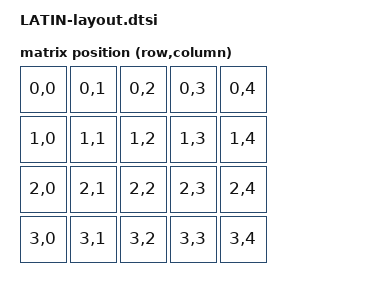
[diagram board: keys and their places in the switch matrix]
/*
 * Copyright (c) 2022 The ZMK Contributors
 *
 * SPDX-License-Identifier: MIT
 */

#include <dt-bindings/zmk/matrix_transform.h>
#include <physical_layouts.dtsi>

/ {
    default_transform: keymap_transform_0 {
        compatible = "zmk,matrix-transform";
        columns = <5>;
        rows = <4>;
//             | SW01  | SW02  | SW03  | SW04  | SW05  |
//             | SW06  | SW07  | SW08  | SW09  | SW10  |
//             | SW11  | SW12  | SW13  | SW14  | SW15  |
//             | SW16  | SW17  | SW18  | SW19  | SW20  |
        map = <
                RC(0,0) RC(0,1) RC(0,2) RC(0,3) RC(0,4)
                RC(1,0) RC(1,1) RC(1,2) RC(1,3) RC(1,4)
                RC(2,0) RC(2,1) RC(2,2) RC(2,3) RC(2,4)
                RC(3,0) RC(3,1) RC(3,2) RC(3,3) RC(3,4)
        >;
    };

    default_layout: physical_layout_0 {
        compatible = "zmk,physical-layout";
        display-name = "Default Layout";
        transform = <&default_transform>;
        keys
            = <&key_physical_attrs 100 100   0   0   0   0   0>
            , <&key_physical_attrs 100 100 100   0   0   0   0>
            , <&key_physical_attrs 100 100 200   0   0   0   0>
            , <&key_physical_attrs 100 100 300   0   0   0   0>
            , <&key_physical_attrs 100 100 400   0   0   0   0>
            , <&key_physical_attrs 100 100   0 100   0   0   0>
            , <&key_physical_attrs 100 100 100 100   0   0   0>
            , <&key_physical_attrs 100 100 200 100   0   0   0>
            , <&key_physical_attrs 100 100 300 100   0   0   0>
            , <&key_physical_attrs 100 100 400 100   0   0   0>
            , <&key_physical_attrs 100 100   0 200   0   0   0>
            , <&key_physical_attrs 100 100 100 200   0   0   0>
            , <&key_physical_attrs 100 100 200 200   0   0   0>
            , <&key_physical_attrs 100 100 300 200   0   0   0>
            , <&key_physical_attrs 100 100 400 200   0   0   0>
            , <&key_physical_attrs 100 100   0 300   0   0   0>
            , <&key_physical_attrs 100 100 100 300   0   0   0>
            , <&key_physical_attrs 100 100 200 300   0   0   0>
            , <&key_physical_attrs 100 100 300 300   0   0   0>
            , <&key_physical_attrs 100 100 400 300   0   0   0>
            ;
    };
};
